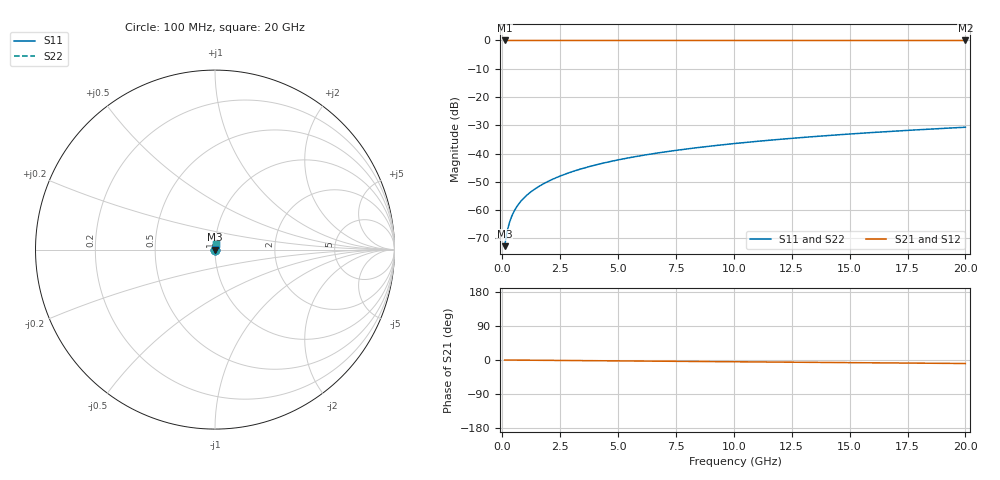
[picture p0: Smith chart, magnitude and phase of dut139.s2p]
! Touchstone file exported from HFSS 2026.1.0
!  File:  C:/ffzhzh/LocalFiles/Ansys_Project_Files/temp_train_TSV_139_1782990316_41620.aedt
!  Generated:  07:07:03 PM Jul  2, 2026
!  Design:  TSV
!  Project:  temp_train_TSV_139_1782990316_41620
! Variables:
!  h_bsmrdl = 2um
!  h_ox = 20um
!  h_rdl = 5um
!  h_sub = 89.89um
!  h_tmrdl = 5um
!  h_tsv = 89.89um
!  h_via = 3um
!  l_bsmrdl = 300um
!  l_sub = 420.92um
!  l_tmrdl = 200um
!  m_sub = 200um
!  pitch = 52.29um
!  r_tsv = 10.46um
!  s_tmrdl = 10um
!  w_bsmrdl = 18um
!  w_sub = 500um
!  w_tmrdl = 12um
!  x_tsv_center1 = 206um
!  x_tsv_center2 = 524um
!  x_tsv_center3 = 736um
!  x_tsv_center4 = 1054um
!  x_tsv_center5 = 1266um
!  x_tsv_center6 = 1584um
# GHz S MA R 50.000000
! Terminal data exported
! Port[1] = TSV1_1_T1
! Port[2] = TSV1_1_T2
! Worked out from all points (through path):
!   200 points, 100 MHz to 20 GHz, reference 50 ohm
!   highest |S21| = 0.00 dB at 100 MHz (marker M1); lowest = 0.0 dB at 20 GHz (marker M2)
!   group delay of S21, straight-line fit = 1.28 ps
!   lowest |S11| = -72.8 dB at 100 MHz (marker M3), VSWR 1.00, Z = 50 + j0.0191 ohm
!   |S11| at or under -10 dB: start of sweep to end of sweep
!   |S22| runs from -72.8 to -30.7 dB; largest |S21 - S12| = 3e-15
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0.1  0.0002302 56.3  0.9999 -0.0  0.9999 -0.0  0.0002302 56.3
! Gamma 0 0 0 0
! Port Impedance 50 0 50 0
0.2  0.0004052 69.7  0.9999 -0.1  0.9999 -0.1  0.0004052 69.7
0.3  0.000586 74.2  0.9998 -0.1  0.9998 -0.1  0.000586 74.2
0.4  0.000764 76.2  0.9998 -0.2  0.9998 -0.2  0.000764 76.2
0.5  0.0009372 77.2  0.9998 -0.2  0.9998 -0.2  0.0009372 77.2
0.6  0.001105 77.8  0.9998 -0.3  0.9998 -0.3  0.001105 77.8
0.7  0.001269 78.2  0.9997 -0.3  0.9997 -0.3  0.001269 78.2
0.9  0.001586 78.8  0.9997 -0.4  0.9997 -0.4  0.001586 78.8
1.1  0.001895 79.4  0.9997 -0.5  0.9997 -0.5  0.001895 79.4
1.3  0.002199 80.0  0.9996 -0.6  0.9996 -0.6  0.002199 80.0
1.6  0.002651 80.6  0.9996 -0.8  0.9996 -0.8  0.002651 80.6
1.9  0.003102 81.2  0.9996 -0.9  0.9996 -0.9  0.003102 81.2
2.6  0.004152 82.1  0.9995 -1.2  0.9995 -1.2  0.004152 82.1
3.5  0.005499 82.6  0.9994 -1.6  0.9994 -1.6  0.005499 82.6
4.2  0.00654 82.7  0.9994 -2.0  0.9994 -2.0  0.00654 82.7
5  0.007723 82.7  0.9993 -2.3  0.9993 -2.3  0.007723 82.7
6.8  0.01036 82.5  0.9992 -3.2  0.9992 -3.2  0.01036 82.5
8.3  0.01254 82.2  0.9991 -3.9  0.9991 -3.9  0.01254 82.2
10.1  0.01514 81.7  0.9989 -4.7  0.9989 -4.7  0.01514 81.7
13.4  0.01987 80.6  0.9987 -6.2  0.9987 -6.2  0.01987 80.6
16.7  0.02456 79.4  0.9985 -7.7  0.9985 -7.7  0.02456 79.4
20  0.0292 78.1  0.9982 -9.3  0.9982 -9.3  0.0292 78.1
